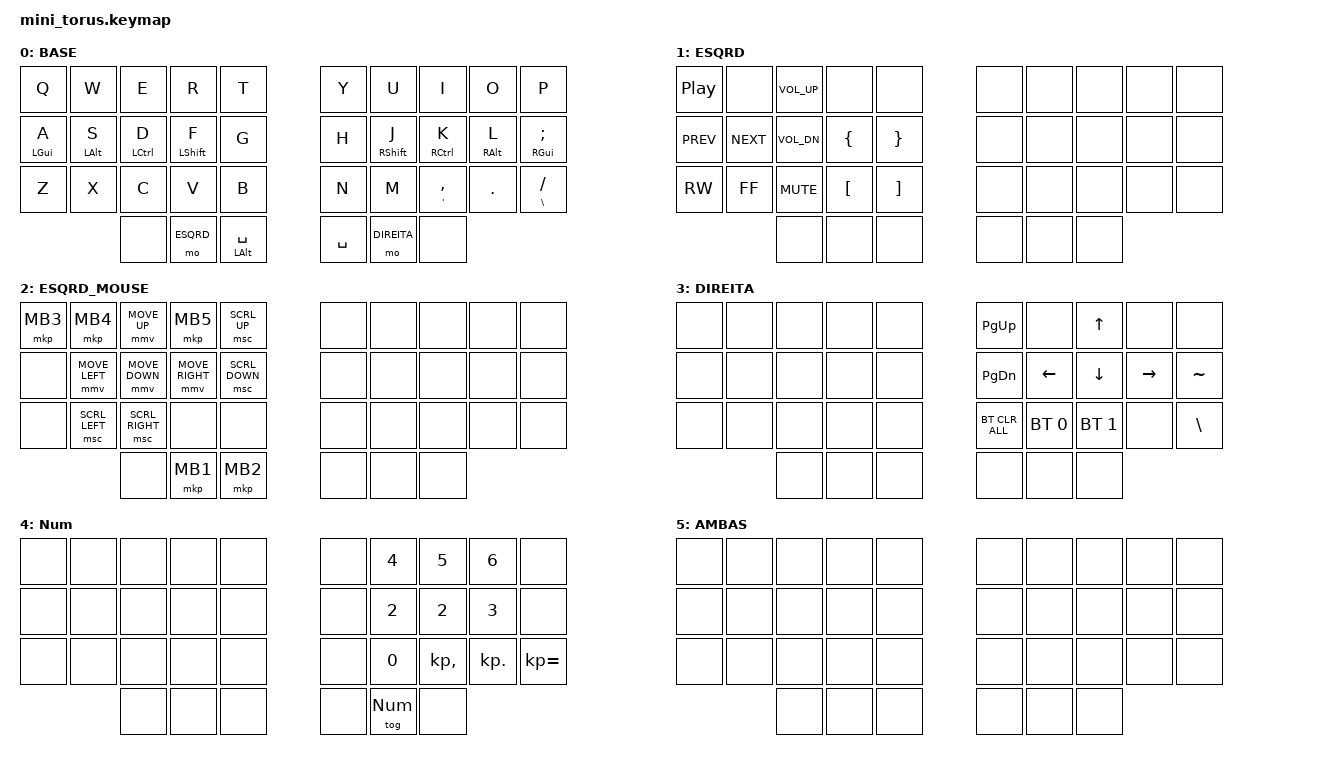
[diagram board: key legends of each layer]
//Inicio das incluçoes

#include <behaviors.dtsi>
#include <dt-bindings/zmk/bt.h>
#include <dt-bindings/zmk/keys.h>
#include <dt-bindings/zmk/pointing.h>
#include <dt-bindings/zmk/pointing.h>
#include <dt-bindings/zmk/pointing.h>

//Fim das incluçoes
//Inicio das definiçoes de configurações
//MOUSE

#define ZMK_POINTING_DEFAULT_MOVE_VAL 1000  // padrão: 600
#define ZMK_POINTING_DEFAULT_SCRL_VAL 20    // padrão: 10

//Fim das definiçoes de configurações
//Inicio das definiçoes das camadas

#define BASE 0
#define ESQRD 1
#define ESQRD_MOUSE 2
#define DIREITA 3
#define Num 4
#define AMBAS 5

//Fim das definiçoes das camadas
//Inicio dos comportamentos de teclas
//MT = MOD-TAP, se eu tocar o SHIFT pelo tempo menor que delimitei, ele vira o caps_word, caso eu continue pressionando o shift, ele se mantem como shift 

&mt {
    flavor = "tap-preferred";
    tapping-term-ms = <250>;
    require-prior-idle-ms = <125>;
    quick-tap-ms = <100>;
};

//SK = 

&sk {
    release-after-ms = <2000>;
    quick-release;
};

//Fim dos comportamentos de teclas

/ {
    // Ative a camada 'AMBAS' pressionando DIREITA e ESQUERDA

    conditional_layers {
        compatible = "zmk,conditional-layers";

        AMBAS_layer {
            if-layers = <ESQRD  DIREITA>;
            then-layer = <AMBAS>;
        };
    };

    //Fim
    //Inicio  Combos

    combos {
        compatible = "zmk,combos";

        Backspace-Dir {
            timeout-ms = <30>;
            bindings = <&kp BACKSPACE>;
            key-positions = <8 9>;
        };

        CapsLock {
            timeout-ms = <30>;
            key-positions = <10 0>;
            bindings = <&kp CAPSLOCK>;
        };

        Sen1 {
            bindings = <&Sen1>;
            key-positions = <14 3 2>;
            layers = <1>;
        };

        Enter-Dir {
            bindings = <&kp ENTER>;
            key-positions = <5 6>;
            layers = <3>;
        };

        Desfazazer {
            bindings = <&kp LC(Z)>;
            key-positions = <37 38 20 21>;
            layers = <1>;
        };

        Refazer {
            bindings = <&kp LC(Y)>;
            key-positions = <38 37 39 20 21 22>;
            layers = <1>;
        };

        Copiar {
            bindings = <&kp LC(C)>;
            key-positions = <38 39 21 22>;
            layers = <1>;
        };

        Colar {
            bindings = <&kp LC(V)>;
            key-positions = <40 39 22 23>;
            layers = <1>;
        };

        Recortar {
            bindings = <&kp LC(X)>;
            key-positions = <38 39 40 21 22 23>;
        };

        Selecionar_Tudo {
            bindings = <&kp LC(A)>;
            key-positions = <37 20 10>;
            layers = <1>;
        };

        Esc {
            bindings = <&kp ESC>;
            key-positions = <10 11>;
            layers = <1>;
        };

        Delete-Dir {
            bindings = <&kp DELETE>;
            key-positions = <7 8 9>;
            layers = <3>;
        };

        Delete-Esq {
            bindings = <&kp DELETE>;
            key-positions = <0 1 2>;
            layers = <1>;
        };

        Backspace-Esq {
            bindings = <&kp BACKSPACE>;
            key-positions = <0 1>;
        };

        Enter-Esq {
            bindings = <&kp ENTER>;
            key-positions = <5 6>;
            layers = <1>;
        };

        tab {
            bindings = <&kp TAB>;
            key-positions = <41 40 23 24>;
        };
    };

    //Fim
    //inicio macro

    macros {
        Sen1: Sen1 {
            compatible = "zmk,behavior-macro";
            #binding-cells = <0>;
            bindings =
                <&macro_tap>,
                <&kp AT &kp LS(K) &kp O &kp LS(D) &kp A &kp UNDER &kp LS(M) &kp A &kp S &kp LS(T) &kp E &kp R &kp EXCL &kp N6 &kp N4 &kp N2 &kp N8 &kp N9 &kp N0 &kp ENTER>;

            label = "SEN1";
        };
    };

    //fim macro
    //Fim

    keymap {
        compatible = "zmk,keymap";

        // Inicio do Layout BASE

        default_layer {
            display-name = "BASE";
            bindings = <
&kp Q           &kp W           &kp E               &kp R             &kp T                                     &kp Y        &kp U              &kp I                &kp O            &kp P
&mt LEFT_GUI A  &mt LEFT_ALT S  &mt LEFT_CONTROL D  &mt LEFT_SHIFT F  &kp G                                     &kp H        &mt RIGHT_SHIFT J  &mt RIGHT_CONTROL K  &mt RIGHT_ALT L  &mt RIGHT_GUI SEMI
&kp Z           &kp X           &kp C               &kp V             &kp B                                     &kp N        &kp M              &mt SQT COMMA        &kp DOT          &mt BSLH FSLH
                                                    &none             &mo ESQRD  &mt LALT SPACE      &kp SPACE  &mo DIREITA  &none
            >;
        };

        // Fim do Layout BASE
        // Inicio do Layout ESQUERDA

        ESQRD_layer {
            display-name = "ESQRD";

            // ┌─────┬────┬─────┬─────┬─────┐         ┌───────┬─────┬────┬─────┬─────┐
            // │ ►⫼  |    | ◄)) |     |  ↲  |         │       |     |    |     |     |
            // ├─────┼────┼─────┼─────┼─────┤         ├───────┼─────┼────┼─────┼─────┤
            // │  «  |  » | ◄)  |  {  |  }  |         │       |     |    |     |     |
            // ├─────┼────┼─────┼─────┼─────┤         ├───────┼─────┼────┼─────┼─────┤
            // │  «« | »» | ◄x  |  [  |  ]  |         │       |     |    |     |     |
            // └─────┴────┴─────┼─────┼─────┤         ├───────┼─────┼────┴─────┴─────┘
            //                  |     |     |         │       |     |
            //                  └─────┴─────┘         └───────┴─────┘

            bindings = <
&kp C_PP    &none       &kp C_VOL_UP  &none     &none                       &none  &none  &none  &none  &none
&kp C_PREV  &kp C_NEXT  &kp C_VOL_DN  &kp LBRC  &kp RBRC                    &none  &none  &none  &none  &none
&kp C_RW    &kp C_FF    &kp C_MUTE    &kp LBKT  &kp RBKT                    &none  &none  &none  &none  &none
                                      &none     &none     &none      &none  &none  &none
            >;
        };

        // Fim do Layout ESQUERDA
        // Inicio do Layout ESQRD_MOUSE

        ESQRD_MOUSE_layer {
            display-name = "ESQRD_MOUSE";

            // ┌─────┬─────┬─────┬─────┬─────┐            ┌─────┬─────┬────┬─────┬─────┐
            // │     | B4  |  ▲  |  B5 |ROL ▲|            │     |     |    |     |     |
            // ├─────┼─────┼─────┼─────┼─────┤            ├─────┼─────┼────┼─────┼─────┤
            // │     |  ◄  |  ▼  |  ►  |ROL ▼|            │     |     |    |     |     |
            // ├─────┼─────┼─────┼─────┼─────┤            ├─────┼─────┼────┼─────┼─────┤
            // │     |ROL◄ |ROL ►|     |     |            │     |     |    |     |     |
            // └─────┴─────┴─────┼─────┼─────┤            ├─────┼─────┼────┴─────┴─────┘
            //                   |ESQRD|DIRTA|            │     |     |
            //                   └─────┴─────┘            └─────┴─────┘

            bindings = <
&mkp MB3  &mkp MB4        &mmv MOVE_UP     &mkp MB5         &msc SCRL_UP                         &none  &none  &none  &none  &none
&none     &mmv MOVE_LEFT  &mmv MOVE_DOWN   &mmv MOVE_RIGHT  &msc SCRL_DOWN                       &none  &none  &none  &none  &none
&none     &msc SCRL_LEFT  &msc SCRL_RIGHT  &none            &none                                &none  &none  &none  &none  &none
                                           &none            &mkp MB1        &mkp MB2      &none  &none  &none
            >;
        };

        // Fim do Layout ESQRD_MOUSE
        // Inicio do Layout DIREITA

        DIREITA_layer {
            display-name = "DIREITA";

            // ┌─────┬────┬─────┬─────┬─────┐               ┌───────┬─────┬─────┬─────┬─────┐
            // │     |    |     |     |     |               │ PG UP |     |  ▲  |     |     |
            // ├─────┼────┼─────┼─────┼─────┤               ├───────┼─────┼─────┼─────┼─────┤
            // │     |    |     |     |     |               │ PG DN |  ◄  |  ▼  |  ►  |     |
            // ├─────┼────┼─────┼─────┼─────┤               ├───────┼─────┼─────┼─────┼─────┤
            // │     |    |     |     |     |               │       |     |     |     | \ | |
            // └─────┴────┴─────┼─────┼─────┤               ├───────┼─────┼─────┴─────┴─────┘
            //                  |     |     |               │       |     |
            //                  └─────┴─────┘               └───────┴─────┘

            bindings = <
&none  &none  &none  &none  &none                    &kp PG_UP       &none         &kp UP        &none      &none
&none  &none  &none  &none  &none                    &kp PG_DN       &kp LEFT      &kp DOWN      &kp RIGHT  &kp TILDE
&none  &none  &none  &none  &none                    &bt BT_CLR_ALL  &bt BT_SEL 0  &bt BT_SEL 1  &none      &kp BSLH
                     &none  &none  &none      &none  &none           &none
            >;
        };

        // Fim do Layout DIREITA
        // Inicio do Layout Numerico

        Num_layer {
            display-name = "Num";

            // ┌─────┬────┬─────┬─────┬─────┐               ┌───────┬─────┬─────┬─────┬─────┐
            // │     |    |     |     |     |               │       |  4  |  5  |  6  |     |
            // ├─────┼────┼─────┼─────┼─────┤               ├───────┼─────┼─────┼─────┼─────┤
            // │     |    |     |     |     |               │       |  1  |  2  |  3  |     |
            // ├─────┼────┼─────┼─────┼─────┤               ├───────┼─────┼─────┼─────┼─────┤
            // │     |    |     |     |     |               │       |  0  |  ,  |  .  |  =  |
            // └─────┴────┴─────┼─────┼─────┤               ├───────┼─────┼─────┴─────┴─────┘
            //                  |     |     |               │       |     |
            //                  └─────┴─────┘               └───────┴─────┘

            bindings = <
&none  &none  &none  &none  &none                    &none     &kp N4  &kp N5        &kp N6      &none
&none  &none  &none  &none  &none                    &none     &kp N2  &kp N2        &kp N3      &none
&none  &none  &none  &none  &none                    &none     &kp N0  &kp KP_COMMA  &kp KP_DOT  &kp KP_EQUAL
                     &none  &none  &none      &none  &tog Num  &none
            >;
        };

        // Fim do Layout Numerico
        // Inicio do Layout AMBAS (NÃO ESTA FUNCIONANDO)

        AMBAS_layer {
            display-name = "AMBAS";

            // ┌─────┬────┬─────┬─────┬─────┐               ┌───────┬─────┬────┬─────┬─────┐
            // │     |    |     |     |     |               │       |     |    |     |     |
            // ├─────┼────┼─────┼─────┼─────┤               ├───────┼─────┼────┼─────┼─────┤
            // │     |    |     |     |     |               │       |     |    |     |     |
            // ├─────┼────┼─────┼─────┼─────┤               ├───────┼─────┼────┼─────┼─────┤
            // │     |    |     |     |     |               │       |     |    |     |     |
            // └─────┴────┴─────┼─────┼─────┤               ├───────┼─────┼────┴─────┴─────┘
            //                  |     |     |               │       |     |
            //                  └─────┴─────┘               └───────┴─────┘

            bindings = <
&none  &none  &none  &none  &none                    &none  &none  &none  &none  &none
&none  &none  &none  &none  &none                    &none  &none  &none  &none  &none
&none  &none  &none  &none  &none                    &none  &none  &none  &none  &none
                     &none  &none  &none      &none  &none  &none
            >;
        };

        // Fim do Layout AMBAS
    };
};
